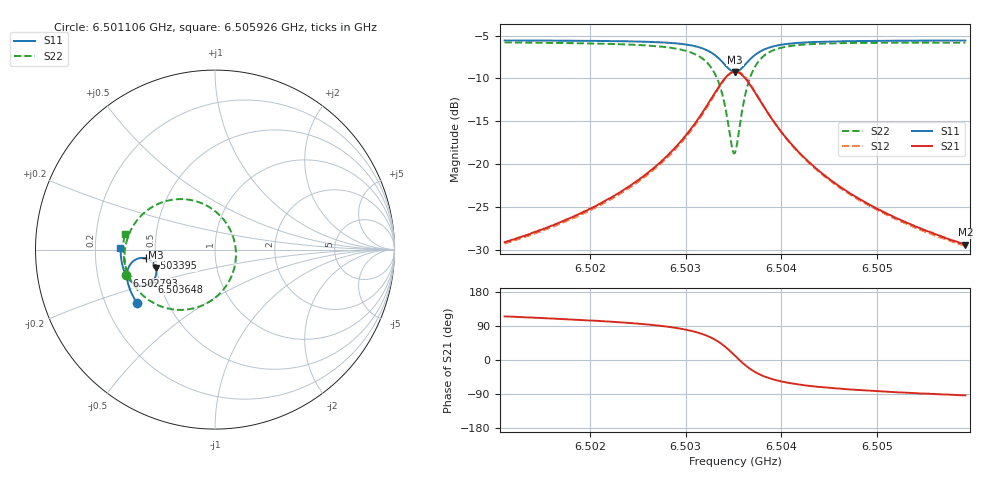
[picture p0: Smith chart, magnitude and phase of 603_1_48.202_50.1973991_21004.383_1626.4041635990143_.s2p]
#  HZ  S  RI  R  50.00
! Rohde & Schwarz Vector Network Analyzer
! Rohde-Schwarz,ZNB20-2Port,1311601062101988,3.16
! Created: UTC 3/20/2024, 12:03:05 PM
! freq[Hz]  re:S11  im:S11  re:S21  im:S21  re:S12  im:S12  re:S22  im:S22
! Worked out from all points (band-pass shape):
!   401 points, 6.501106 GHz to 6.505926 GHz, reference 50 ohm
!   highest |S21| = -9.22 dB at 6.503516 GHz (marker M1); lowest = -29.4 dB at 6.505926 GHz (marker M2)
!   |S21| within 3 dB of the highest: 6.503276 GHz to 6.503757 GHz (481.7 kHz wide, 0.00741 % of centre)
!   lowest |S11| = -9.2 dB at 6.503516 GHz (marker M3), VSWR 2.05, Z = 24.8 - j5.69 ohm
!   |S11| at or under -10 dB: nowhere
!   |S22| runs from -18.8 to -5.8 dB; largest |S21 - S12| = 0.012
!   S11 on the Smith chart (normalised r, x): 6.501106 GHz: 0.34, -0.28; 6.502793 GHz: 0.33, -0.13; 6.503395 GHz: 0.44, -0.05; 6.503648 GHz: 0.45, -0.19; 6.505926 GHz: 0.31, +0.01
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6.5011057e9  -0.4333 -0.2999  -0.0148 0.0317  -0.0131 0.0316  -0.4933 -0.1416
6.5019131e9  -0.4671 -0.2388  -0.0138 0.0502  -0.0115 0.0496  -0.5044 -0.0536
6.502371e9  -0.4824 -0.197  -0.0105 0.071  -0.00741 0.0698  -0.4995 0.0143
6.5027205e9  -0.49 -0.1567  -0.00112 0.1007  0.00253 0.0984  -0.4783 0.0882
6.5027928e9  -0.4904 -0.1468  0.00302 0.1098  0.00679 0.107  -0.4695 0.1079
6.5029977e9  -0.4865 -0.1132  0.0247 0.1441  0.0285 0.1398  -0.424 0.1757
6.5031543e9  -0.4713 -0.0809  0.0649 0.1806  0.0676 0.1749  -0.346 0.2399
6.5032989e9  -0.4326 -0.0512  0.1483 0.2099  0.1488 0.2038  -0.1946 0.2814
6.5033471e9  -0.4109 -0.0463  0.1913 0.2085  0.1916 0.2031  -0.1185 0.2726
6.5033953e9  -0.3851 -0.0485  0.2414 0.1931  0.2415 0.1887  -0.0332 0.2377
6.5034797e9  -0.3412 -0.0784  0.3212 0.117  0.324 0.1132  0.0946 0.0879
6.5035159e9  -0.33 -0.1012  0.3394 0.0672  0.3434 0.0621  0.1161 -0.00567
6.50354e9  -0.3268 -0.1177  0.3428 0.0318  0.3474 0.0254  0.1138 -0.0706
6.5035761e9  -0.3289 -0.1425  0.3355 -0.0196  0.3395 -0.0282  0.086 -0.1617
6.5036484e9  -0.3518 -0.1807  0.2877 -0.0976  0.288 -0.1093  -0.0266 -0.288
6.5037448e9  -0.3936 -0.2007  0.2076 -0.1417  0.2028 -0.1522  -0.1897 -0.336
6.5039015e9  -0.4438 -0.1933  0.1175 -0.1409  0.1104 -0.1467  -0.3534 -0.2911
6.5040702e9  -0.4734 -0.1721  0.0686 -0.1195  0.0622 -0.122  -0.4328 -0.2226
6.5043233e9  -0.4961 -0.1408  0.0351 -0.0922  0.0303 -0.0929  -0.4812 -0.1439
6.5046607e9  -0.511 -0.1043  0.0163 -0.0689  0.0128 -0.0687  -0.5035 -0.072
6.5051307e9  -0.5213 -0.0599  0.00534 -0.0502  0.00304 -0.0497  -0.5109 -0.00192
6.505926e9  -0.5265 0.00821  -0.00184 -0.0337  -0.00343 -0.033  -0.5039 0.0849
